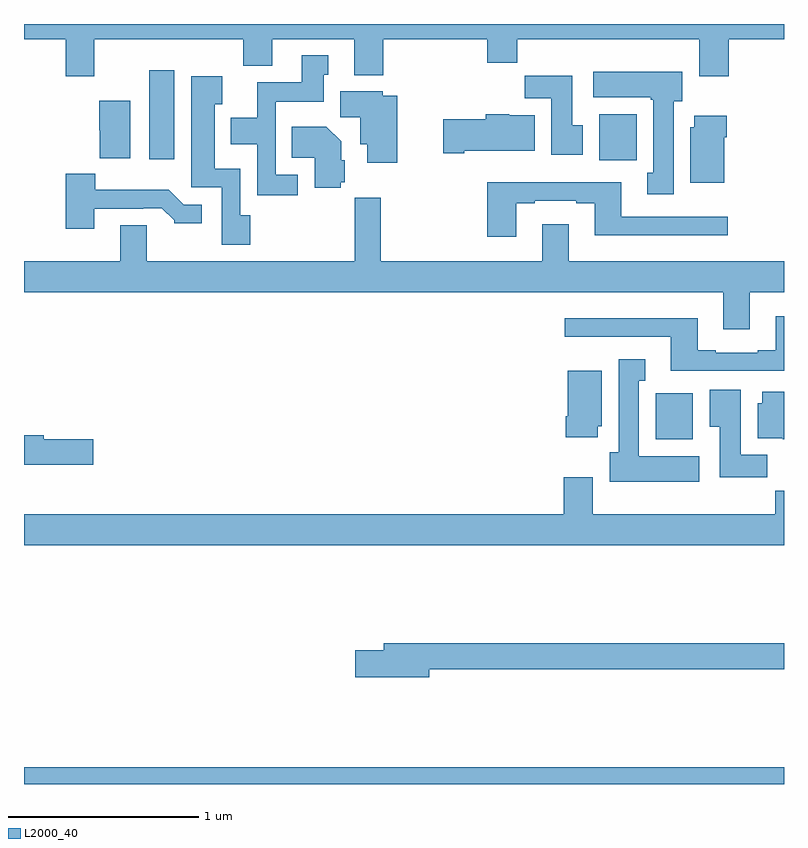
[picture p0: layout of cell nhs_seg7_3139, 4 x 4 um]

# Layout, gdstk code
import gdstk
lib = gdstk.Library(unit=1e-6, precision=1e-09)
def R(c, l, rs):  # rectangles x0, y0, x1, y1
    for r in rs: c.add(gdstk.rectangle(r[:2], r[2:], *l))
def P(c, l, *ps):  # polygons
    for p in ps: c.add(gdstk.Polygon(p, *l))
L2000_40 = (2000, 40)

nhs_seg7_3139 = lib.new_cell('nhs_seg7_3139')
R(nhs_seg7_3139, L2000_40, [(311,1026,315,1026.088), (314.324,1027.814,314.521,1028.056), (314.027,1029.284,314.224,1029.526), (311.66,1029.288,311.791,1029.757)])
P(nhs_seg7_3139, L2000_40, [(311.371,1029.92),(312.155,1029.92),(312.155,1029.779),(312.307,1029.779),(312.307,1029.92),(312.737,1029.92),(312.737,1029.731),(312.89,1029.731),(312.89,1029.92),(313.439,1029.92),(313.439,1029.796),(313.595,1029.796),(313.595,1029.92),(314.555,1029.92),(314.555,1029.726),(314.708,1029.726),(314.708,1029.92),(315,1029.92),(315,1030),(311,1030),(311,1029.92),(311.219,1029.92),(311.219,1029.726),(311.371,1029.726)],
  [(312.442,1029.207),(312.324,1029.207),(312.324,1029.59),(312.577,1029.59),(312.577,1029.732),(312.601,1029.732),(312.601,1029.835),(312.461,1029.835),(312.461,1029.694),(312.227,1029.694),(312.227,1029.507),(312.089,1029.507),(312.089,1029.368),(312.228,1029.368),(312.228,1029.099),(312.442,1029.099)],
  [(314.419,1029.594),(314.464,1029.594),(314.464,1029.748),(313.995,1029.748),(313.995,1029.614),(314.299,1029.614),(314.299,1029.601),(314.312,1029.601),(314.312,1029.218),(314.279,1029.218),(314.279,1029.105),(314.419,1029.105)],
  [(313.942,1029.468),(313.885,1029.468),(313.885,1029.727),(313.636,1029.727),(313.636,1029.608),(313.775,1029.608),(313.775,1029.312),(313.942,1029.312)],
  [(312.191,1028.994),(312.138,1028.994),(312.138,1029.238),(312.004,1029.238),(312.004,1029.578),(312.043,1029.578),(312.043,1029.724),(311.879,1029.724),(311.879,1029.141),(312.042,1029.141),(312.042,1028.838),(312.191,1028.838)],
  [(312.964,1029.622),(312.888,1029.622),(312.888,1029.646),(312.665,1029.646),(312.665,1029.508),(312.77,1029.508),(312.77,1029.368),(312.806,1029.368),(312.806,1029.27),(312.964,1029.27)],
  [(311.56,1029.595),(311.396,1029.595),(311.396,1029.441),(311.398,1029.441),(311.398,1029.293),(311.56,1029.293)],
  [(313.318,1029.332),(313.687,1029.332),(313.687,1029.52),(313.554,1029.52),(313.554,1029.526),(313.429,1029.526),(313.429,1029.498),(313.206,1029.498),(313.206,1029.32),(313.318,1029.32)],
  [(314.686,1029.404),(314.699,1029.404),(314.699,1029.517),(314.528,1029.517),(314.528,1029.456),(314.507,1029.456),(314.507,1029.164),(314.686,1029.164)],
  [(312.666,1029.168),(312.688,1029.168),(312.688,1029.282),(312.67,1029.282),(312.67,1029.382),(312.592,1029.46),(312.409,1029.46),(312.409,1029.296),(312.53,1029.296),(312.53,1029.139),(312.666,1029.139)],
  [(311.371,1029.027),(311.627,1029.027),(311.627,1029.03),(311.726,1029.03),(311.79,1028.966),(311.79,1028.951),(311.935,1028.951),(311.935,1029.048),(311.841,1029.048),(311.763,1029.127),(311.374,1029.127),(311.374,1029.211),(311.219,1029.211),(311.219,1028.922),(311.371,1028.922)],
  [(313.591,1029.057),(313.687,1029.057),(313.687,1029.069),(313.907,1029.069),(313.907,1029.057),(314.003,1029.057),(314.003,1028.888),(314.704,1028.888),(314.704,1028.985),(314.143,1028.985),(314.143,1029.166),(313.439,1029.166),(313.439,1028.88),(313.591,1028.88)],
  [(314.821,1028.588),(315,1028.588),(315,1028.752),(313.867,1028.752),(313.867,1028.947),(313.727,1028.947),(313.727,1028.752),(312.878,1028.752),(312.878,1029.085),(312.742,1029.085),(312.742,1028.752),(311.647,1028.752),(311.647,1028.942),(311.507,1028.942),(311.507,1028.752),(311,1028.752),(311,1028.588),(314.681,1028.588),(314.681,1028.394),(314.821,1028.394)],
  [(315,1028.461),(314.957,1028.461),(314.957,1028.284),(314.861,1028.284),(314.861,1028.271),(314.641,1028.271),(314.641,1028.284),(314.545,1028.284),(314.545,1028.452),(313.845,1028.452),(313.845,1028.355),(314.405,1028.355),(314.405,1028.175),(315,1028.175)],
  [(314.554,1027.726),(314.236,1027.726),(314.236,1028.123),(314.269,1028.123),(314.269,1028.236),(314.129,1028.236),(314.129,1027.746),(314.084,1027.746),(314.084,1027.592),(314.554,1027.592)],
  [(314.02,1027.884),(314.041,1027.884),(314.041,1028.176),(313.862,1028.176),(313.862,1027.936),(313.85,1027.936),(313.85,1027.824),(314.02,1027.824)],
  [(314.912,1027.732),(314.773,1027.732),(314.773,1028.074),(314.609,1028.074),(314.609,1027.88),(314.663,1027.88),(314.663,1027.614),(314.912,1027.614)],
  [(315,1028.065),(314.885,1028.065),(314.885,1028.004),(314.861,1028.004),(314.861,1027.82),(314.994,1027.82),(314.994,1027.814),(315,1027.814)],
  [(311.365,1027.814),(311.104,1027.814),(311.104,1027.835),(311,1027.835),(311,1027.679),(311.365,1027.679)],
  [(315,1027.544),(314.953,1027.544),(314.953,1027.42),(313.993,1027.42),(313.993,1027.615),(313.841,1027.615),(313.841,1027.42),(311,1027.42),(311,1027.256),(315,1027.256)],
  [(313.132,1026.604),(315,1026.604),(315,1026.74),(312.893,1026.74),(312.893,1026.704),(312.744,1026.704),(312.744,1026.562),(313.132,1026.562)])

lib.write_gds('nhs_seg7_3139.gds')
